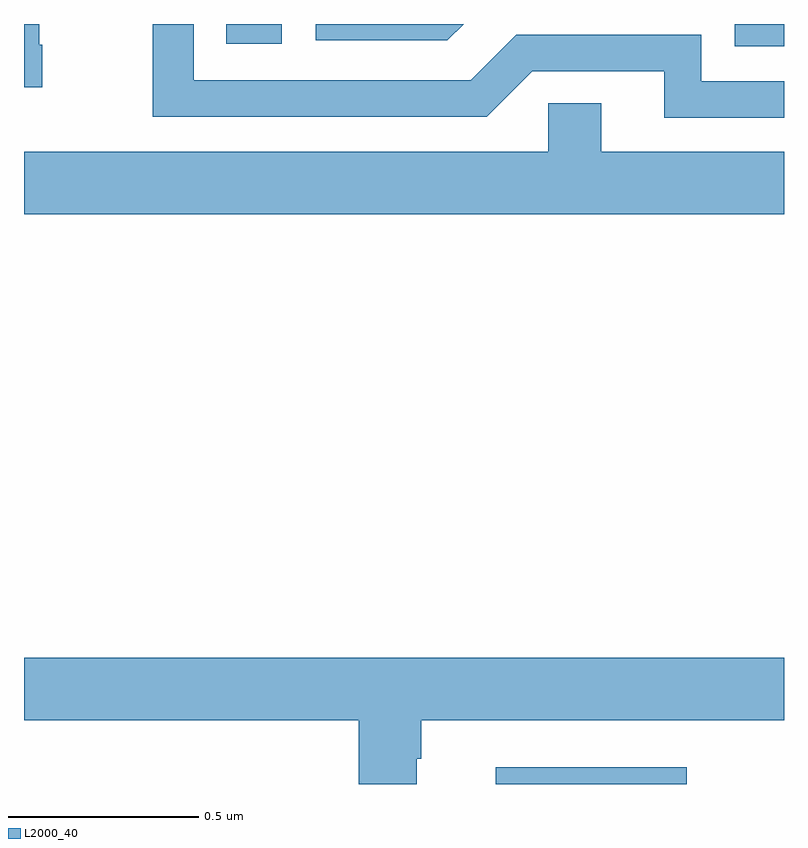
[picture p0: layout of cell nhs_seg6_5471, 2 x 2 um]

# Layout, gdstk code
import gdstk
lib = gdstk.Library(unit=1e-6, precision=1e-09)
def R(c, l, rs):  # rectangles x0, y0, x1, y1
    for r in rs: c.add(gdstk.rectangle(r[:2], r[2:], *l))
def P(c, l, *ps):  # polygons
    for p in ps: c.add(gdstk.Polygon(p, *l))
L2000_40 = (2000, 40)

nhs_seg6_5471 = lib.new_cell('nhs_seg6_5471')
R(nhs_seg6_5471, L2000_40, [(184.241,948.5,184.744,948.544), (184.87,950.441,185,950.5), (183.532,950.448,183.678,950.5)])
P(nhs_seg6_5471, L2000_40, [(185,950.349),(184.782,950.349),(184.782,950.472),(184.296,950.472),(184.176,950.352),(183.447,950.352),(183.447,950.5),(183.339,950.5),(183.339,950.256),(184.218,950.256),(184.338,950.376),(184.685,950.376),(184.685,950.253),(185,950.253)],
  [(183.048,950.446),(183.04,950.446),(183.04,950.5),(183,950.5),(183,950.334),(183.048,950.334)],
  [(184.157,950.5),(183.768,950.5),(183.768,950.457),(184.114,950.457)],
  [(185,950.164),(184.519,950.164),(184.519,950.291),(184.38,950.291),(184.38,950.164),(183,950.164),(183,950),(185,950)],
  [(184.033,948.567),(184.046,948.567),(184.046,948.668),(185,948.668),(185,948.832),(183,948.832),(183,948.668),(183.881,948.668),(183.881,948.5),(184.033,948.5)])

lib.write_gds('nhs_seg6_5471.gds')
